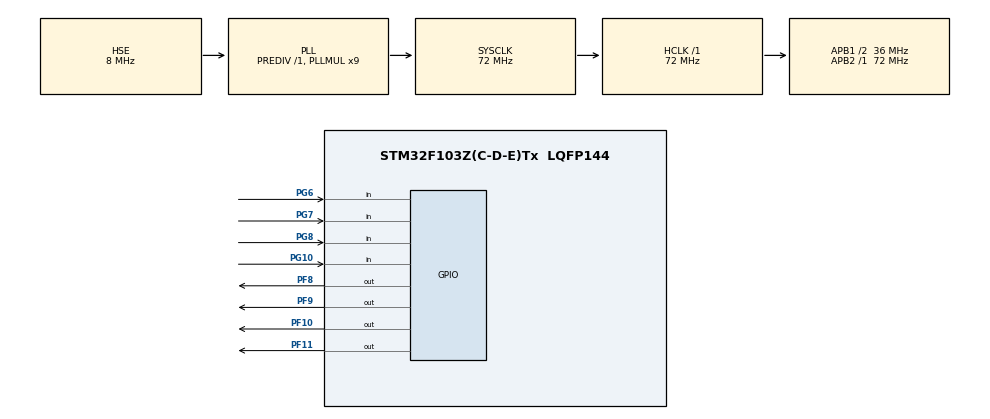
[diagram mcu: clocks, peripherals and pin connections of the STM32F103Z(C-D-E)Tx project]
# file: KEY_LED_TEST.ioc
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Mcu.Family=STM32F1
Mcu.Name=STM32F103Z(C-D-E)Tx
Mcu.Package=LQFP144
NVIC.PriorityGroup=NVIC_PRIORITYGROUP_4
OSC_IN.Mode=HSE-External-Oscillator
OSC_IN.Signal=RCC_OSC_IN
OSC_OUT.Mode=HSE-External-Oscillator
OSC_OUT.Signal=RCC_OSC_OUT
PA13.Mode=Serial_Wire
PA13.Signal=SYS_JTMS-SWDIO
PA14.Mode=Serial_Wire
PA14.Signal=SYS_JTCK-SWCLK
PF10.PinState=GPIO_PIN_SET
PF10.Signal=GPIO_Output
PF11.PinState=GPIO_PIN_SET
PF11.Signal=GPIO_Output
PF8.GPIO_ModeDefaultOutputPP=GPIO_MODE_OUTPUT_PP
PF8.GPIO_PuPd=GPIO_NOPULL
PF8.GPIO_Speed=GPIO_SPEED_FREQ_LOW
PF8.PinState=GPIO_PIN_RESET
PF8.Signal=GPIO_Output
PF9.GPIO_ModeDefaultOutputPP=GPIO_MODE_OUTPUT_PP
PF9.GPIO_PuPd=GPIO_NOPULL
PF9.PinState=GPIO_PIN_RESET
PF9.Signal=GPIO_Output
PG10.GPIO_Mode=GPIO_MODE_INPUT
PG10.Signal=GPIO_Input
PG6.GPIO_Mode=GPIO_MODE_INPUT
PG6.Signal=GPIO_Input
PG7.GPIO_Mode=GPIO_MODE_INPUT
PG7.Signal=GPIO_Input
PG8.GPIO_Mode=GPIO_MODE_INPUT
PG8.Signal=GPIO_Input
ProjectManager.HeapSize=0x200
ProjectManager.StackSize=0x400
ProjectManager.TargetToolchain=MDK-ARM V5.32
RCC.AHBFreq_Value=72000000
RCC.APB1CLKDivider=RCC_HCLK_DIV2
RCC.APB1Freq_Value=36000000
RCC.APB1TimFreq_Value=72000000
RCC.APB2Freq_Value=72000000
RCC.APB2TimFreq_Value=72000000
RCC.HCLKFreq_Value=72000000
RCC.PLLMUL=RCC_PLL_MUL9
RCC.PLLSourceVirtual=RCC_PLLSOURCE_HSE
RCC.SYSCLKFreq_VALUE=72000000
RCC.SYSCLKSource=RCC_SYSCLKSOURCE_PLLCLK
RCC.USBFreq_Value=72000000
board=custom

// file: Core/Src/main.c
/* USER CODE BEGIN Header */
/**
 ******************************************************************************
 * @file           : main.c
 * @brief          : Main program body
 ******************************************************************************
 * @attention
 *
 * Copyright (c) 2026 STMicroelectronics.
 * All rights reserved.
 *
 * This software is licensed under terms that can be found in the LICENSE file
 * in the root directory of this software component.
 * If no LICENSE file comes with this software, it is provided AS-IS.
 *
 ******************************************************************************
 */
/* USER CODE END Header */
#include "main.h"

/* USER CODE BEGIN Includes */
#include "stdbool.h"
/* USER CODE END Includes */

/* USER CODE BEGIN PTD */
typedef enum
{
  LED1 = 1,
  LED2 = 2,
  LED3 = 3,
  LED4 = 4
} LED_t;

typedef enum
{
  KEY1 = 1,
  KEY2 = 2,
  KEY3 = 3,
  KEY4 = 4
} KEY_t;
/* USER CODE END PTD */

/* USER CODE BEGIN PD */
bool led_state = false; // flase == off,true == on
const uint32_t KEY_DEBOUNCE_MS = 20; // Debounce time in milliseconds
/* USER CODE END PD */

void SystemClock_Config(void);
static void MX_GPIO_Init(void);
/* USER CODE BEGIN PFP */
void BSP_LED_Control(LED_t led, bool flag);
void BSP_Led_On(LED_t led);
void BSP_Led_Off(LED_t led);
bool BSP_KEY_IsPress(KEY_t key);
/* USER CODE END PFP */

int main(void)
{

  /* MCU Configuration--------------------------------------------------------*/

  /* Reset of all peripherals, Initializes the Flash interface and the Systick. */
  HAL_Init();

  /* Configure the system clock */
  SystemClock_Config();

  /* Initialize all configured peripherals */
  MX_GPIO_Init();
  /* USER CODE BEGIN 2 */
  // BSP_Led_On(LED1);
  // HAL_Delay(1000);

  // BSP_Led_On(LED2);
  // HAL_Delay(1000);

  // BSP_Led_On(LED3);
  // HAL_Delay(1000);

  // BSP_Led_On(LED4);
  // HAL_Delay(1000);
  HAL_Delay(5000);
  /* USER CODE END 2 */

  /* Infinite loop */
  /* USER CODE BEGIN WHILE */
  while (1)
  {
    // version 3
    BSP_KEY_IsPress(KEY1) ? BSP_Led_On(LED1) : BSP_Led_Off(LED1);
    BSP_KEY_IsPress(KEY2) ? BSP_Led_On(LED2) : BSP_Led_Off(LED2);
    BSP_KEY_IsPress(KEY3) ? BSP_Led_On(LED3) : BSP_Led_Off(LED3);
    BSP_KEY_IsPress(KEY4) ? BSP_Led_On(LED4) : BSP_Led_Off(LED4);

    // // version 2-2
    // if (HAL_GPIO_ReadPin(GPIOG, GPIO_PIN_10) == GPIO_PIN_RESET)
    // {
    //   // Debonce
    //   HAL_Delay(50);
    //   if (HAL_GPIO_ReadPin(GPIOG, GPIO_PIN_10) == GPIO_PIN_RESET)
    //   {
    //     led_state = !led_state;
    //     HAL_GPIO_WritePin(GPIOF, GPIO_PIN_8, (led_state ? GPIO_PIN_RESET : GPIO_PIN_SET));
    //   }

    //   // Not only consider the action of the user pressing the button,but also the outcome of the user releasing it;
    //   while (HAL_GPIO_ReadPin(GPIOG, GPIO_PIN_10) == GPIO_PIN_RESET)
    //   {
    //     // Wait for the user to release the button
    //   }
    // }

    // version 2-1
    //  if(HAL_GPIO_ReadPin(GPIOG,GPIO_PIN_10)==GPIO_PIN_RESET)
    //  {
    //    led_state = !led_state;
    //    HAL_GPIO_WritePin(GPIOF,GPIO_PIN_8,(led_state ? GPIO_PIN_RESET : GPIO_PIN_SET));
    //  }

    // version 1
    //  //The switch has been pressed,turn on the LED
    //  if (HAL_GPIO_ReadPin(GPIOG, GPIO_PIN_10) == GPIO_PIN_RESET)
    //  {
    //    HAL_GPIO_WritePin(GPIOF, GPIO_PIN_8, GPIO_PIN_RESET);//Open-Drain mode,write 0 to turn on the LED
    //  }
    //  else
    //  {
    //    HAL_GPIO_WritePin(GPIOF, GPIO_PIN_8, GPIO_PIN_SET);
    //  }
    /* USER CODE END WHILE */

  }
}

void SystemClock_Config(void)
{
  RCC_OscInitTypeDef RCC_OscInitStruct = {0};
  RCC_ClkInitTypeDef RCC_ClkInitStruct = {0};

  /** Initializes the RCC Oscillators according to the specified parameters
  * in the RCC_OscInitTypeDef structure.
  */
  RCC_OscInitStruct.OscillatorType = RCC_OSCILLATORTYPE_HSE;
  RCC_OscInitStruct.HSEState = RCC_HSE_ON;
  RCC_OscInitStruct.HSEPredivValue = RCC_HSE_PREDIV_DIV1;
  RCC_OscInitStruct.HSIState = RCC_HSI_ON;
  RCC_OscInitStruct.PLL.PLLState = RCC_PLL_ON;
  RCC_OscInitStruct.PLL.PLLSource = RCC_PLLSOURCE_HSE;
  RCC_OscInitStruct.PLL.PLLMUL = RCC_PLL_MUL9;
  if (HAL_RCC_OscConfig(&RCC_OscInitStruct) != HAL_OK)
  {
    Error_Handler();
  }

  /** Initializes the CPU, AHB and APB buses clocks
  */
  RCC_ClkInitStruct.ClockType = RCC_CLOCKTYPE_HCLK|RCC_CLOCKTYPE_SYSCLK
                              |RCC_CLOCKTYPE_PCLK1|RCC_CLOCKTYPE_PCLK2;
  RCC_ClkInitStruct.SYSCLKSource = RCC_SYSCLKSOURCE_PLLCLK;
  RCC_ClkInitStruct.AHBCLKDivider = RCC_SYSCLK_DIV1;
  RCC_ClkInitStruct.APB1CLKDivider = RCC_HCLK_DIV2;
  RCC_ClkInitStruct.APB2CLKDivider = RCC_HCLK_DIV1;

  if (HAL_RCC_ClockConfig(&RCC_ClkInitStruct, FLASH_LATENCY_2) != HAL_OK)
  {
    Error_Handler();
  }
}

static void MX_GPIO_Init(void)
{
  GPIO_InitTypeDef GPIO_InitStruct = {0};

  /* GPIO Ports Clock Enable */
  __HAL_RCC_GPIOF_CLK_ENABLE();
  __HAL_RCC_GPIOG_CLK_ENABLE();
  __HAL_RCC_GPIOA_CLK_ENABLE();

  /*Configure GPIO pin Output Level */
  HAL_GPIO_WritePin(GPIOF, GPIO_PIN_8|GPIO_PIN_9, GPIO_PIN_RESET);

  /*Configure GPIO pin Output Level */
  HAL_GPIO_WritePin(GPIOF, GPIO_PIN_10|GPIO_PIN_11, GPIO_PIN_SET);

  /*Configure GPIO pins : PF8 PF9 PF10 PF11 */
  GPIO_InitStruct.Pin = GPIO_PIN_8|GPIO_PIN_9|GPIO_PIN_10|GPIO_PIN_11;
  GPIO_InitStruct.Mode = GPIO_MODE_OUTPUT_PP;
  GPIO_InitStruct.Pull = GPIO_NOPULL;
  GPIO_InitStruct.Speed = GPIO_SPEED_FREQ_LOW;
  HAL_GPIO_Init(GPIOF, &GPIO_InitStruct);

  /*Configure GPIO pins : PG6 PG7 PG8 PG10 */
  GPIO_InitStruct.Pin = GPIO_PIN_6|GPIO_PIN_7|GPIO_PIN_8|GPIO_PIN_10;
  GPIO_InitStruct.Mode = GPIO_MODE_INPUT;
  GPIO_InitStruct.Pull = GPIO_NOPULL;
  HAL_GPIO_Init(GPIOG, &GPIO_InitStruct);

}

/* USER CODE BEGIN 4 */

// flag:true->turn on,false->turn off
void BSP_LED_Control(LED_t led, bool flag)
{
  GPIO_PinState state = flag ? GPIO_PIN_RESET : GPIO_PIN_SET;
  switch(led)
  {
    case LED1:
    {
      HAL_GPIO_WritePin(GPIOF,GPIO_PIN_8,state);
      break;
    }
    case LED2:
    {
      HAL_GPIO_WritePin(GPIOF, GPIO_PIN_9, state);
      break;
    }
    case LED3:
    {
      HAL_GPIO_WritePin(GPIOF, GPIO_PIN_10, state);
      break;
    }
    case LED4:
    {
      HAL_GPIO_WritePin(GPIOF, GPIO_PIN_11, state);
      break;
    }
  }
}

// The function of LED on,
// BSP: Board Support Package
void BSP_Led_On(LED_t led)
{
  BSP_LED_Control(led, true);
}

void BSP_Led_Off(LED_t led)
{
  BSP_LED_Control(led, false);
}

//About Key function
//When the key is pressed, the function returns true, otherwise it returns false.
//No debounce Version1
// bool BSP_KEY_IsPress(KEY_t key)
// {
//   bool ret=false;
//   switch(key)
//   {
//     case KEY1://PG10
//     {
//       ret = (HAL_GPIO_ReadPin(GPIOG, GPIO_PIN_10) == GPIO_PIN_RESET);
//       break;
//     }
//     case KEY2://PG6
//     {
//       ret = (HAL_GPIO_ReadPin(GPIOG, GPIO_PIN_6) == GPIO_PIN_RESET);
//       break;
//     }
//     case KEY3://PG8
//     {
//       ret = (HAL_GPIO_ReadPin(GPIOG, GPIO_PIN_8) == GPIO_PIN_RESET);
//       break;
//     }
//     case KEY4://PG7
//     {
//       ret = (HAL_GPIO_ReadPin(GPIOG, GPIO_PIN_7) == GPIO_PIN_RESET);
//       break;
//     }
//     default:
//       break;
//   }
//   return ret;
// }

//Debounce Version2
bool BSP_KEY_IsPress(KEY_t key)
{
  bool ret = false;
  switch (key)
  {
    case KEY1: // PG10
    {
      if(HAL_GPIO_ReadPin(GPIOG, GPIO_PIN_10) == GPIO_PIN_RESET)
      {
        // Debounce
        HAL_Delay(KEY_DEBOUNCE_MS);
        if (HAL_GPIO_ReadPin(GPIOG, GPIO_PIN_10) == GPIO_PIN_RESET)
        {
          ret = true;
        }
      }
      break;
    }
    case KEY2: // PG6
    {
      if(HAL_GPIO_ReadPin(GPIOG, GPIO_PIN_6) == GPIO_PIN_RESET)
      {
        // Debounce
        HAL_Delay(KEY_DEBOUNCE_MS);
        if (HAL_GPIO_ReadPin(GPIOG, GPIO_PIN_6) == GPIO_PIN_RESET)
        {
          ret = true;
        }
      }
      break;
    }
    case KEY3: // PG8
    {
      if(HAL_GPIO_ReadPin(GPIOG, GPIO_PIN_8) == GPIO_PIN_RESET)
      {
        // Debounce
        HAL_Delay(KEY_DEBOUNCE_MS);
        if (HAL_GPIO_ReadPin(GPIOG, GPIO_PIN_8) == GPIO_PIN_RESET)
        {
          ret = true;
        }
      }
      break;
    }
    case KEY4: // PG7
    {
      if(HAL_GPIO_ReadPin(GPIOG, GPIO_PIN_7) == GPIO_PIN_RESET)
      {
        // Debounce
        HAL_Delay(KEY_DEBOUNCE_MS);
        if (HAL_GPIO_ReadPin(GPIOG, GPIO_PIN_7) == GPIO_PIN_RESET)
        {
          ret = true;
        }
      }
      break;
    }
    default:
      break;
  }
  return ret;
}

/* USER CODE END 4 */

void Error_Handler(void)
{
  __disable_irq();
  while (1)
  {
  }
}
